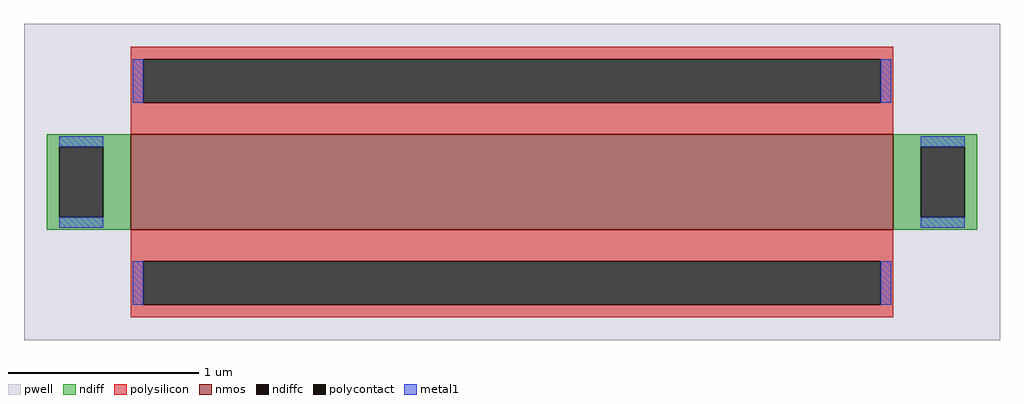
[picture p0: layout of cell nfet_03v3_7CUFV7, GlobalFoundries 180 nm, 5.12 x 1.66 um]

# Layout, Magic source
magic
tech gf180mcuD
magscale 1 10
<< pwell >>
rect -512 -166 512 166
<< nmos >>
rect -400 -50 400 50
<< ndiff >>
rect -488 37 -400 50
rect -488 -37 -475 37
rect -429 -37 -400 37
rect -488 -50 -400 -37
rect 400 37 488 50
rect 400 -37 429 37
rect 475 -37 488 37
rect 400 -50 488 -37
<< ndiffc >>
rect -475 -37 -429 37
rect 429 -37 475 37
<< polysilicon >>
rect -400 129 400 142
rect -400 83 -387 129
rect 387 83 400 129
rect -400 50 400 83
rect -400 -83 400 -50
rect -400 -129 -387 -83
rect 387 -129 400 -83
rect -400 -142 400 -129
<< polycontact >>
rect -387 83 387 129
rect -387 -129 387 -83
<< metal1 >>
rect -398 83 -387 129
rect 387 83 398 129
rect -475 37 -429 48
rect -475 -48 -429 -37
rect 429 37 475 48
rect 429 -48 475 -37
rect -398 -129 -387 -83
rect 387 -129 398 -83
<< properties >>
string gencell nfet_03v3
string library gf180mcu
string parameters w 0.5 l 4 m 1 nf 1 diffcov 100 polycov 100 guard 0 glc 0 grc 0 gtc 0 gbc 0 tbcov 100 rlcov 100 topc 1 botc 1 poverlap 0 doverlap 1 lmin 0.28 wmin 0.22 class mosfet full_metal 0 compatible {nfet_03v3 nfet_05v0 nfet_06v0 nfet_06v0_nvt}
<< end >>
